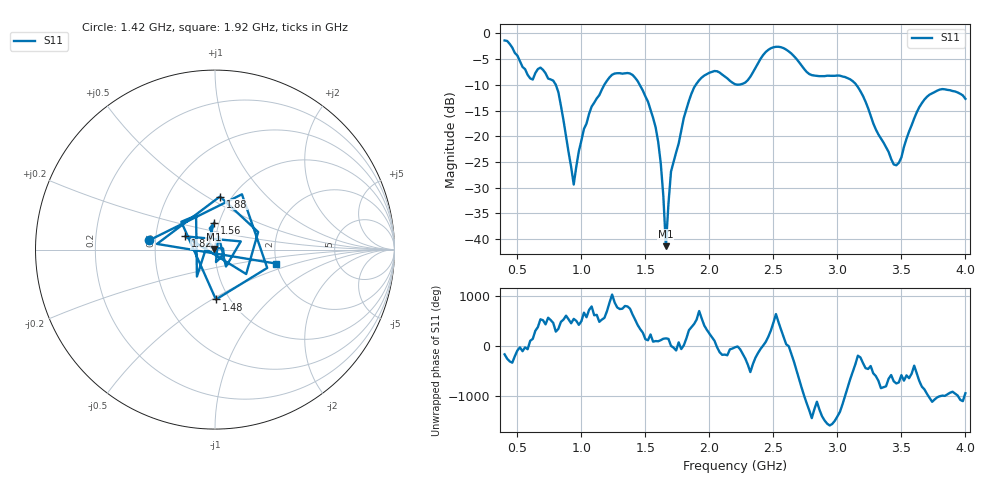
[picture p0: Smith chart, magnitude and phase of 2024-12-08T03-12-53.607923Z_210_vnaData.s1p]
!Created with skrf (http://scikit-rf.org).
# Hz S RI R 50.0
!freq ReS11 ImS11
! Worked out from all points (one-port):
!   181 points, 400 MHz to 4 GHz, reference 50 ohm
!   lowest |S11| = -41.4 dB at 1.66 GHz (marker M1), VSWR 1.02, Z = 49.2 + j0.315 ohm
!   |S11| at or under -10 dB: 800.2 MHz to 1.179 GHz (378.9 MHz wide, 38.3 % of centre); 1.455 GHz to 1.894 GHz (438.8 MHz wide, 26.2 % of centre); 3.147 GHz to end of sweep
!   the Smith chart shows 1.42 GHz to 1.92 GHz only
!   S11 on the Smith chart (normalised r, x): 1.42 GHz: 0.46, +0.06; 1.48 GHz: 0.86, -0.52; 1.56 GHz: 0.95, +0.29; 1.82 GHz: 0.71, +0.11; 1.88 GHz: 0.88, +0.57; 1.92 GHz: 1.99, -0.35
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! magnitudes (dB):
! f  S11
! 400 MHz  -1.4
! 600 MHz  -8.8
! 680 MHz  -6.7
! 780 MHz  -9.2
! 860 MHz  -16.9
! 940 MHz  -29.4
! 1.02 GHz  -18.6
! 1.08 GHz  -14.2
! 1.3 GHz  -7.7
! 1.42 GHz  -8.6
! 1.48 GHz  -11.1
! 1.56 GHz  -16.4
! 1.62 GHz  -25.3
! 1.66 GHz  -41.4
! 1.7 GHz  -26.9
! 1.76 GHz  -21.4
! 1.82 GHz  -14.8
! 1.88 GHz  -10.5
! 1.92 GHz  -9.1
! 2.2 GHz  -9.9
! 2.48 GHz  -2.9
! 2.66 GHz  -4.4
! 2.8 GHz  -8.1
! 3.1 GHz  -8.9
! 3.44 GHz  -25.5
! 3.56 GHz  -19.1
! 3.72 GHz  -11.9
! 4 GHz  -12.7
